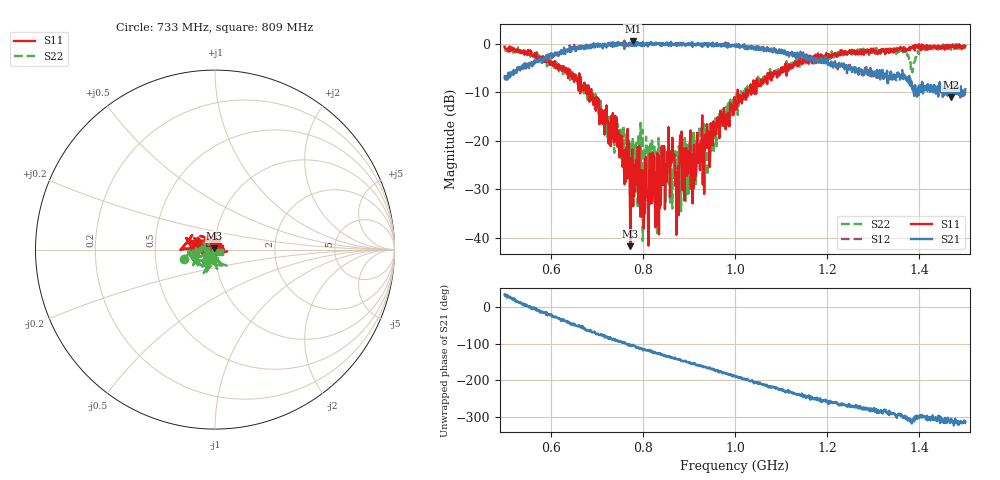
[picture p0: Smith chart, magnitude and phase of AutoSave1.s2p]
!Agilent N9923A: A.05.17
!Date: Sunday, 01 January 2006 12:21:48
!Model: N9923A
!Serial: MY50371189
!CHECKSUM:0438568019
!Correction: S11(ON U)S21(ON U)S12(ON U)S22(ON U)
!S2P File: Measurements:S11,S21,S12,S22:
# Hz S DB R 50
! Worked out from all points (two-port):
!   1001 points, 500 MHz to 1.5 GHz, reference 50 ohm
!   highest |S21| = 0.54 dB at 778 MHz (marker M1); lowest = -11.0 dB at 1.468 GHz (marker M2)
!   |S21| within 3 dB of the highest: 597.8 MHz to 1.129 GHz (531.1 MHz wide, 61.5 % of centre); 1.139159 GHz to 1.14273 GHz (3.571 MHz wide, 0.313 % of centre)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
!   lowest |S11| = -41.7 dB at 773 MHz (marker M3), VSWR 1.02, Z = 49.6 + j0.717 ohm
!   |S11| at or under -10 dB: 682.5 MHz to 687.7 MHz (5.247 MHz wide, 0.766 % of centre); 688.3 MHz to 1.006 GHz (317.5 MHz wide, 37.5 % of centre); 1.006 GHz to 1.025 GHz (18.5 MHz wide, 1.82 % of centre)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
!   |S22| runs from -40.6 to -0.1 dB; largest |S21 - S12| = 0.21
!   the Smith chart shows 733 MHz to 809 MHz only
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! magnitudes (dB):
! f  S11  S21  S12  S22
! 500 MHz  -0.6  -7.0  -6.4  -1.3
! 667 MHz  -8.9  -0.6  -0.5  -9.4
! 739 MHz  -20.2  0.0  -0.3  -18.4
! 773 MHz  -41.7  0.2  0.1  -32.1
! 778 MHz  -29.1  0.5  0.1  -19.3
! 789 MHz  -21.3  0.3  -0.1  -33.9
! 807 MHz  -23.3  -0.1  0.0  -19.1
! 819 MHz  -25.3  0.0  -0.1  -22.4
! 834 MHz  -22.9  -0.1  -0.1  -19.4
! 859 MHz  -31.5  -0.3  -0.1  -32.7
! 874 MHz  -26.8  -0.2  0.0  -25.1
! 884 MHz  -18.1  -0.3  -0.1  -18.1
! 897 MHz  -26.6  0.0  -0.1  -31.0
! 906 MHz  -22.7  0.3  0.0  -18.4
! 914 MHz  -25.3  0.0  0.0  -20.2
! 933 MHz  -30.9  -0.2  -0.2  -16.6
! 1 GHz  -12.6  -0.2  -0.3  -11.1
! 1.167 GHz  -3.5  -3.0  -2.9  -2.8
! 1.334 GHz  -1.9  -7.1  -6.6  -1.0
! 1.386 GHz  -0.8  -8.7  -9.6  -5.3
! 1.468 GHz  -0.8  -11.0  -9.8  -0.9
! 1.5 GHz  -0.5  -9.3  -9.6  -0.7
